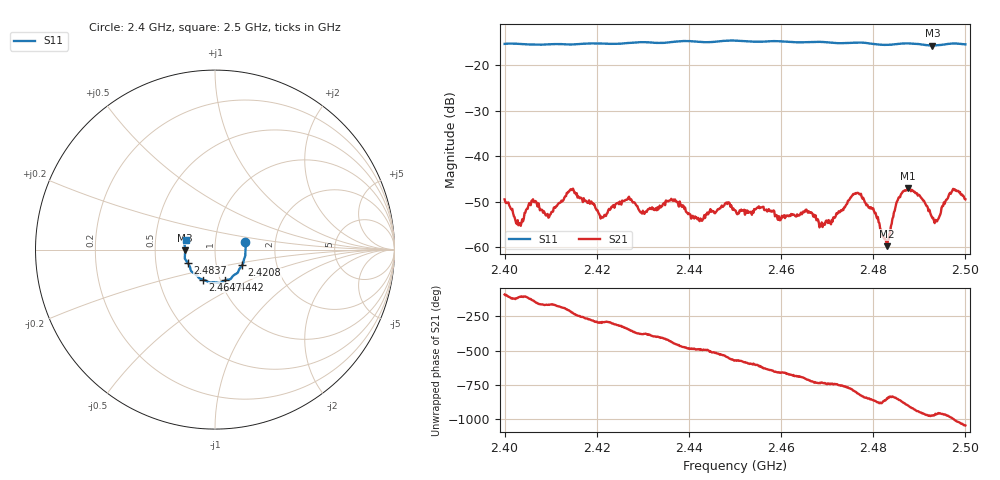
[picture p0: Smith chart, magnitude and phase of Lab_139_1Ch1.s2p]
# Hz S RI R 50
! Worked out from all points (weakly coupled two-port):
!   601 points, 2.4 GHz to 2.5 GHz, reference 50 ohm
!   highest |S21| = -46.99 dB at 2.4875 GHz (marker M1); lowest = -59.8 dB at 2.483 GHz (marker M2)
!   lowest |S11| = -15.6 dB at 2.4928 GHz (marker M3), VSWR 1.40, Z = 35.8 - j0.345 ohm
!   |S11| at or under -10 dB: start of sweep to end of sweep
!   S12 and S22 are empty: the file has one direction only
!   S11 on the Smith chart (normalised r, x): 2.4 GHz: 1.40, +0.12; 2.4208 GHz: 1.33, -0.24; 2.4442 GHz: 1.05, -0.37; 2.4647 GHz: 0.83, -0.29; 2.4837 GHz: 0.73, -0.11; 2.5 GHz: 0.72, +0.08
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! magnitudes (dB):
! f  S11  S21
! 2.4 GHz  -15.2  -49.5
! 2.403 GHz  -15.2  -55.2
! 2.4063 GHz  -15.4  -50.0
! 2.4093 GHz  -15.4  -52.7
! 2.4143 GHz  -15.4  -47.2
! 2.4167 GHz  -15.2  -49.2
! 2.4208 GHz  -15.2  -53.7
! 2.4268 GHz  -15.1  -49.1
! 2.4333 GHz  -15.0  -51.7
! 2.4442 GHz  -14.9  -52.8
! 2.45 GHz  -14.5  -51.9
! 2.4647 GHz  -14.9  -52.5
! 2.4667 GHz  -14.8  -52.4
! 2.4707 GHz  -15.0  -54.7
! 2.4768 GHz  -15.0  -48.1
! 2.483 GHz  -15.5  -59.8
! 2.4833 GHz  -15.5  -58.2
! 2.4837 GHz  -15.4  -56.8
! 2.4875 GHz  -15.1  -47.0
! 2.4928 GHz  -15.6  -53.6
! 2.4972 GHz  -15.2  -47.6
! 2.5 GHz  -15.4  -49.5
